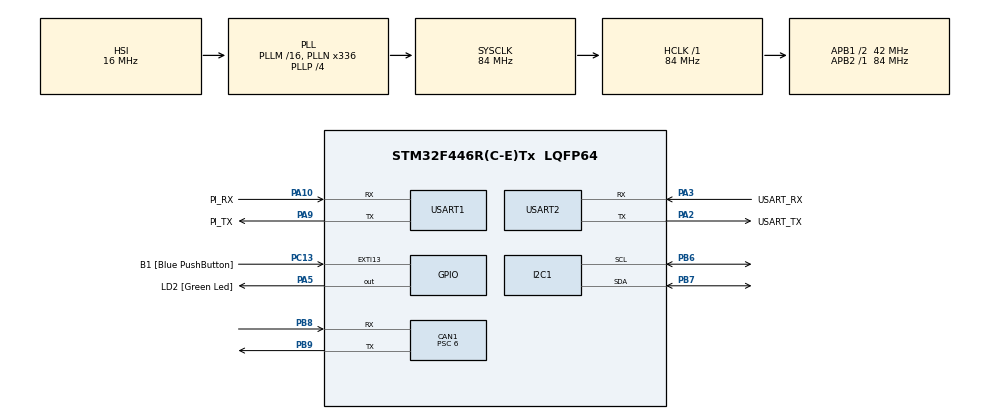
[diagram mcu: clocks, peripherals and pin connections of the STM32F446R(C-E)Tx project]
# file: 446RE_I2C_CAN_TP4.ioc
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CAN1.BS1=CAN_BS1_11TQ
CAN1.BS2=CAN_BS2_2TQ
CAN1.CalculateBaudRate=500000
CAN1.CalculateTimeBit=2000
CAN1.CalculateTimeQuantum=142.85714285714286
CAN1.Prescaler=6
Mcu.Family=STM32F4
Mcu.Name=STM32F446R(C-E)Tx
Mcu.Package=LQFP64
NVIC.PriorityGroup=NVIC_PRIORITYGROUP_0
NVIC.USART1_IRQn=true\:0\:0\:false\:false\:true\:true\:true\:true
NVIC.USART2_IRQn=true\:0\:0\:false\:false\:true\:true\:true\:true
PA10.GPIO_Label=PI_RX
PA10.Mode=Asynchronous
PA10.Signal=USART1_RX
PA13.GPIO_Label=TMS
PA13.Mode=Serial_Wire
PA13.Signal=SYS_JTMS-SWDIO
PA14.GPIO_Label=TCK
PA14.Mode=Serial_Wire
PA14.Signal=SYS_JTCK-SWCLK
PA2.GPIO_Label=USART_TX
PA2.Mode=Asynchronous
PA2.Signal=USART2_TX
PA3.GPIO_Label=USART_RX
PA3.Mode=Asynchronous
PA3.Signal=USART2_RX
PA5.GPIO_Label=LD2 [Green Led]
PA5.Signal=GPIO_Output
PA9.GPIO_Label=PI_TX
PA9.Mode=Asynchronous
PA9.Signal=USART1_TX
PB3.GPIO_Label=SWO
PB3.Signal=SYS_JTDO-SWO
PB6.Mode=I2C
PB6.Signal=I2C1_SCL
PB7.Mode=I2C
PB7.Signal=I2C1_SDA
PB8.Mode=CAN_Activate
PB8.Signal=CAN1_RX
PB9.Mode=CAN_Activate
PB9.Signal=CAN1_TX
PC13.GPIO_Label=B1 [Blue PushButton]
PC13.GPIO_ModeDefaultEXTI=GPIO_MODE_IT_FALLING
PC13.Signal=GPXTI13
PC14-OSC32_IN.Mode=LSE-External-Oscillator
PC14-OSC32_IN.Signal=RCC_OSC32_IN
PC15-OSC32_OUT.Mode=LSE-External-Oscillator
PC15-OSC32_OUT.Signal=RCC_OSC32_OUT
PH0-OSC_IN.Mode=HSE-External-Oscillator
PH0-OSC_IN.Signal=RCC_OSC_IN
PH1-OSC_OUT.Mode=HSE-External-Oscillator
PH1-OSC_OUT.Signal=RCC_OSC_OUT
ProjectManager.HeapSize=0x200
ProjectManager.StackSize=0x400
ProjectManager.TargetToolchain=STM32CubeIDE
RCC.48MHZClocksFreq_Value=84000000
RCC.AHBFreq_Value=84000000
RCC.APB1CLKDivider=RCC_HCLK_DIV2
RCC.APB1Freq_Value=42000000
RCC.APB1TimFreq_Value=84000000
RCC.APB2Freq_Value=84000000
RCC.APB2TimFreq_Value=84000000
RCC.CortexFreq_Value=84000000
RCC.FLatency-AdvancedSettings=FLASH_LATENCY_2
RCC.HCLKFreq_Value=84000000
RCC.HSE_VALUE=8000000
RCC.HSI_VALUE=16000000
RCC.PLLN=336
RCC.PLLP=RCC_PLLP_DIV4
RCC.SYSCLKFreq_VALUE=84000000
RCC.SYSCLKSource=RCC_SYSCLKSOURCE_PLLCLK
RCC.USBFreq_Value=168000000
RCC.VCOOutputFreq_Value=336000000
USART1.VirtualMode=VM_ASYNC
USART2.VirtualMode=VM_ASYNC
board=NUCLEO-F446RE

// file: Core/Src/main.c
/* USER CODE BEGIN Header */
/**
  ******************************************************************************
  * @file           : main.c
  * @brief          : Main program body
  ******************************************************************************
  * @attention
  *
  * Copyright (c) 2023 STMicroelectronics.
  * All rights reserved.
  *
  * This software is licensed under terms that can be found in the LICENSE file
  * in the root directory of this software component.
  * If no LICENSE file comes with this software, it is provided AS-IS.
  *
  ******************************************************************************
  */
/* USER CODE END Header */
#include "main.h"
#include "can.h"
#include "i2c.h"
#include "usart.h"
#include "gpio.h"

/* USER CODE BEGIN Includes */
#include <stdio.h>
#include "bmp280.h"
#include "shell.h"
/* USER CODE END Includes */

/* USER CODE BEGIN PD */
#define CAN_DATA_LENGTH 8
/* USER CODE END PD */

/* USER CODE BEGIN PV */
h_bmp280_t bmp280;
/* USER CODE END PV */

void SystemClock_Config(void);
/* USER CODE BEGIN PFP */
int _write(int file, char *ptr, int len) {
	int DataIdx;

	for (DataIdx = 0; DataIdx < len; DataIdx++) {
		HAL_UART_Transmit(&huart2, (uint8_t *) ptr++, 1, HAL_MAX_DELAY);
	}
	/*for (DataIdx = 0; DataIdx < len; DataIdx++) {
		HAL_UART_Transmit(&huart1, (uint8_t *) ptr++, 1, HAL_MAX_DELAY);
	}*/

	return len;
}
/* USER CODE END PFP */

int main(void)
{

  /* MCU Configuration--------------------------------------------------------*/

  /* Reset of all peripherals, Initializes the Flash interface and the Systick. */
  HAL_Init();

  /* Configure the system clock */
  SystemClock_Config();

  /* Initialize all configured peripherals */
  MX_GPIO_Init();
  MX_USART2_UART_Init();
  MX_I2C1_Init();
  MX_USART1_UART_Init();
  MX_CAN1_Init();
  /* USER CODE BEGIN 2 */

  printf("test\r\n");
  bmp_reset(&bmp280);
  printf("reset done\r\n");
  bmp_id(&bmp280);
  printf("id done\r\n");
  bmp_config(&bmp280);
  printf("config done\r\n");
  HAL_Delay(500);
  bmp_calib_read(&bmp280);
  printf("calib done\r\n");

  HAL_CAN_Start(&hcan1);
  uint8_t CAN_TxData[CAN_DATA_LENGTH];
  CAN_TxHeaderTypeDef CAN_Header;
  CAN_Header.StdId = 0x062;
  CAN_Header.ExtId = 0x062;
  CAN_Header.IDE = CAN_ID_STD;
  CAN_Header.RTR = CAN_RTR_DATA; //DATA c'est qu'en on envoie juste un message au peripherique
  	  	  	  	  	  	  	  	 //remote c'est quand on attent une réponse
  CAN_Header.DLC = CAN_DATA_LENGTH;
  CAN_Header.TransmitGlobalTime = DISABLE;

  uint32_t boiteAuLettre = 0;

  HAL_CAN_AddTxMessage(&hcan1, &CAN_Header, CAN_TxData, &boiteAuLettre);
  while(HAL_CAN_IsTxMessagePending(&hcan1, boiteAuLettre)){
	  HAL_Delay(10);
  }
  printf("init ok\r\n");

  CAN_Header.StdId = 0x061;

  CAN_TxData[0] = 45;
  CAN_TxData[1] = 1;

  //bmp_temp_read(&bmp280);
  //bmp_press_read(&bmp280);    */
  Shell_Init();
  /* USER CODE END 2 */

  /* Infinite loop */
  /* USER CODE BEGIN WHILE */
  while (1)
  {
	  bmp_temp_read(&bmp280);
	  if(HAL_GPIO_ReadPin(B1_GPIO_Port, B1_Pin)){

	  }
	  HAL_CAN_AddTxMessage(&hcan1, &CAN_Header, CAN_TxData, &boiteAuLettre);
	  while( HAL_CAN_IsTxMessagePending(&hcan1, boiteAuLettre) ){
		  printf("message CAN pas encore envoye \r\n");
	  }
	  /*CAN_TxData[0] += 10;
	  CAN_TxData[0] = CAN_TxData[0] % 180;*/
	  CAN_TxData[0] = (uint8_t) ((bmp280.temp / 10) - 200); //envoie la consigne au MPP en ecart de 10eme de degres à l
	  	  	  	  	  	  	  	  	  	  	  	  	  	  	//a la temperature de reference qui est 20 degres
	  HAL_Delay(500);
	  huartTX_Value = (uint8_t) (bmp280.temp/100);
	  printf("%d/r/n",huartTX_Value);
	  HAL_UART_Receive_IT(&huart1, &huartRX_Value, 1);
	  //Shell_Loop();
    /* USER CODE END WHILE */

  }
}

void SystemClock_Config(void)
{
  RCC_OscInitTypeDef RCC_OscInitStruct = {0};
  RCC_ClkInitTypeDef RCC_ClkInitStruct = {0};

  /** Configure the main internal regulator output voltage
  */
  __HAL_RCC_PWR_CLK_ENABLE();
  __HAL_PWR_VOLTAGESCALING_CONFIG(PWR_REGULATOR_VOLTAGE_SCALE3);

  /** Initializes the RCC Oscillators according to the specified parameters
  * in the RCC_OscInitTypeDef structure.
  */
  RCC_OscInitStruct.OscillatorType = RCC_OSCILLATORTYPE_HSI;
  RCC_OscInitStruct.HSIState = RCC_HSI_ON;
  RCC_OscInitStruct.HSICalibrationValue = RCC_HSICALIBRATION_DEFAULT;
  RCC_OscInitStruct.PLL.PLLState = RCC_PLL_ON;
  RCC_OscInitStruct.PLL.PLLSource = RCC_PLLSOURCE_HSI;
  RCC_OscInitStruct.PLL.PLLM = 16;
  RCC_OscInitStruct.PLL.PLLN = 336;
  RCC_OscInitStruct.PLL.PLLP = RCC_PLLP_DIV4;
  RCC_OscInitStruct.PLL.PLLQ = 2;
  RCC_OscInitStruct.PLL.PLLR = 2;
  if (HAL_RCC_OscConfig(&RCC_OscInitStruct) != HAL_OK)
  {
    Error_Handler();
  }

  /** Initializes the CPU, AHB and APB buses clocks
  */
  RCC_ClkInitStruct.ClockType = RCC_CLOCKTYPE_HCLK|RCC_CLOCKTYPE_SYSCLK
                              |RCC_CLOCKTYPE_PCLK1|RCC_CLOCKTYPE_PCLK2;
  RCC_ClkInitStruct.SYSCLKSource = RCC_SYSCLKSOURCE_PLLCLK;
  RCC_ClkInitStruct.AHBCLKDivider = RCC_SYSCLK_DIV1;
  RCC_ClkInitStruct.APB1CLKDivider = RCC_HCLK_DIV2;
  RCC_ClkInitStruct.APB2CLKDivider = RCC_HCLK_DIV1;

  if (HAL_RCC_ClockConfig(&RCC_ClkInitStruct, FLASH_LATENCY_2) != HAL_OK)
  {
    Error_Handler();
  }
}

void Error_Handler(void)
{
  __disable_irq();
  while (1)
  {
  }
}
